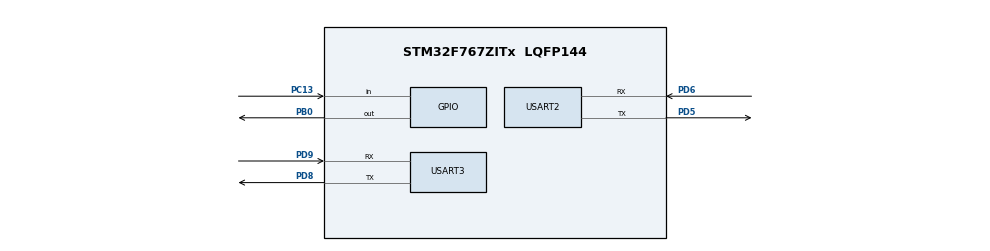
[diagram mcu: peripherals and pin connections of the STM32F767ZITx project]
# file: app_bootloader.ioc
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Mcu.Family=STM32F7
Mcu.Name=STM32F767ZITx
Mcu.Package=LQFP144
NVIC.PriorityGroup=NVIC_PRIORITYGROUP_4
PB0.Signal=GPIO_Output
PC13.Signal=GPIO_Input
PD5.Mode=Asynchronous
PD5.Signal=USART2_TX
PD6.Mode=Asynchronous
PD6.Signal=USART2_RX
PD8.Mode=Asynchronous
PD8.Signal=USART3_TX
PD9.Mode=Asynchronous
PD9.Signal=USART3_RX
ProjectManager.HeapSize=0x200
ProjectManager.StackSize=0x400
ProjectManager.TargetToolchain=STM32CubeIDE
RCC.HSE_VALUE=25000000
RCC.HSI_VALUE=16000000
RCC.LSE_VALUE=32768
RCC.USBFreq_Value=96000000
RCC.VCOOutputFreq_Value=192000000
USART2.VirtualMode-Asynchronous=VM_ASYNC
USART3.VirtualMode-Asynchronous=VM_ASYNC
board=custom

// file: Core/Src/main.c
/* USER CODE BEGIN Header */
/**
  ******************************************************************************
  * @file           : main.c
  * @brief          : Main program body
  ******************************************************************************
  * @attention
  *
  * <h2><center>&copy; Copyright (c) 2021 STMicroelectronics.
  * All rights reserved.</center></h2>
  *
  * This software component is licensed by ST under BSD 3-Clause license,
  * the "License"; You may not use this file except in compliance with the
  * License. You may obtain a copy of the License at:
  *                        opensource.org/licenses/BSD-3-Clause
  *
  ******************************************************************************
  */
/* USER CODE END Header */
#include "main.h"

/* USER CODE BEGIN Includes */
#include <stdio.h> //Include printf operator
#include <stdbool.h>
#include "etx_ota_update.h"
/* USER CODE END Includes */

/* USER CODE BEGIN PM */
#define MAJOR 0 //Major Version Number
#define MINOR 2 //Minor Version Number
/* USER CODE END PM */

UART_HandleTypeDef huart2;
UART_HandleTypeDef huart3;

/* USER CODE BEGIN PV */
const uint8_t BL_Version[2] = {MAJOR, MINOR}; //Bootloader version array
/* USER CODE END PV */

void SystemClock_Config(void);
static void MX_GPIO_Init(void);
static void MX_USART3_UART_Init(void);
static void MX_USART2_UART_Init(void);
/* USER CODE BEGIN PFP */
static void load_application(void);
/* USER CODE END PFP */

int main(void)
{

  /* MCU Configuration--------------------------------------------------------*/

  /* Reset of all peripherals, Initializes the Flash interface and the Systick. */
  HAL_Init();

  /* Configure the system clock */
  SystemClock_Config();

  /* Initialize all configured peripherals */
  MX_GPIO_Init();
  MX_USART3_UART_Init();
  MX_USART2_UART_Init();
  /* USER CODE BEGIN 2 */
  printf("Bootloader Starting! Version number: %d.%d\n", BL_Version[0], BL_Version[1]);
  HAL_GPIO_WritePin(GPIOB, GPIO_PIN_0, 1); //Turn on Green LED
  //HAL_Delay(2000); //2 Second Delay

  /* OTA logic */
  bool OTA_Pin_state = 0;
  uint32_t end_tick = HAL_GetTick() + 2000;
  do {
      OTA_Pin_state = HAL_GPIO_ReadPin( GPIOC, GPIO_PIN_13 );
      uint32_t current_tick = HAL_GetTick();

      /* Check the button is pressed or not for 3seconds */
      if( ( OTA_Pin_state != GPIO_PIN_RESET ) || ( current_tick > end_tick ) )
      {
        /* Either timeout or Button is pressed */
        break;
      }
  }
  while(true);

  //If the button is pushed down, go into firmware update mode
  if(OTA_Pin_state)
  {
	  printf("Starting firmware download\n");
	  /* Launch the OTA code and verify that the data is good*/
	  if(etx_ota_download_and_flash() != ETX_OTA_EX_OK)
	  {
		  printf("OTA Update Error. Program Halting\n");
		  while(true);
	  }
	  else
	  {
		  printf("OTA update sucessful. Rebooting\n");
		  HAL_NVIC_SystemReset(); //Reset application to load it
	  }

  }

  load_application(); //Fire up the actual application

  /* USER CODE END 2 */

  /* Infinite loop */
  while (1)
  {

  }
}

void SystemClock_Config(void)
{
  RCC_OscInitTypeDef RCC_OscInitStruct = {0};
  RCC_ClkInitTypeDef RCC_ClkInitStruct = {0};
  RCC_PeriphCLKInitTypeDef PeriphClkInitStruct = {0};

  /** Configure the main internal regulator output voltage
  */
  __HAL_RCC_PWR_CLK_ENABLE();
  __HAL_PWR_VOLTAGESCALING_CONFIG(PWR_REGULATOR_VOLTAGE_SCALE3);
  /** Initializes the RCC Oscillators according to the specified parameters
  * in the RCC_OscInitTypeDef structure.
  */
  RCC_OscInitStruct.OscillatorType = RCC_OSCILLATORTYPE_HSI;
  RCC_OscInitStruct.HSIState = RCC_HSI_ON;
  RCC_OscInitStruct.HSICalibrationValue = RCC_HSICALIBRATION_DEFAULT;
  RCC_OscInitStruct.PLL.PLLState = RCC_PLL_NONE;
  if (HAL_RCC_OscConfig(&RCC_OscInitStruct) != HAL_OK)
  {
    Error_Handler();
  }
  /** Initializes the CPU, AHB and APB buses clocks
  */
  RCC_ClkInitStruct.ClockType = RCC_CLOCKTYPE_HCLK|RCC_CLOCKTYPE_SYSCLK
                              |RCC_CLOCKTYPE_PCLK1|RCC_CLOCKTYPE_PCLK2;
  RCC_ClkInitStruct.SYSCLKSource = RCC_SYSCLKSOURCE_HSI;
  RCC_ClkInitStruct.AHBCLKDivider = RCC_SYSCLK_DIV1;
  RCC_ClkInitStruct.APB1CLKDivider = RCC_HCLK_DIV1;
  RCC_ClkInitStruct.APB2CLKDivider = RCC_HCLK_DIV1;

  if (HAL_RCC_ClockConfig(&RCC_ClkInitStruct, FLASH_LATENCY_0) != HAL_OK)
  {
    Error_Handler();
  }
  PeriphClkInitStruct.PeriphClockSelection = RCC_PERIPHCLK_USART2|RCC_PERIPHCLK_USART3;
  PeriphClkInitStruct.Usart2ClockSelection = RCC_USART2CLKSOURCE_PCLK1;
  PeriphClkInitStruct.Usart3ClockSelection = RCC_USART3CLKSOURCE_PCLK1;
  if (HAL_RCCEx_PeriphCLKConfig(&PeriphClkInitStruct) != HAL_OK)
  {
    Error_Handler();
  }
}

static void MX_USART2_UART_Init(void)
{

  huart2.Instance = USART2;
  huart2.Init.BaudRate = 115200;
  huart2.Init.WordLength = UART_WORDLENGTH_8B;
  huart2.Init.StopBits = UART_STOPBITS_1;
  huart2.Init.Parity = UART_PARITY_NONE;
  huart2.Init.Mode = UART_MODE_TX_RX;
  huart2.Init.HwFlowCtl = UART_HWCONTROL_NONE;
  huart2.Init.OverSampling = UART_OVERSAMPLING_16;
  huart2.Init.OneBitSampling = UART_ONE_BIT_SAMPLE_DISABLE;
  huart2.AdvancedInit.AdvFeatureInit = UART_ADVFEATURE_NO_INIT;
  if (HAL_UART_Init(&huart2) != HAL_OK)
  {
    Error_Handler();
  }

}

static void MX_USART3_UART_Init(void)
{

  huart3.Instance = USART3;
  huart3.Init.BaudRate = 115200;
  huart3.Init.WordLength = UART_WORDLENGTH_8B;
  huart3.Init.StopBits = UART_STOPBITS_1;
  huart3.Init.Parity = UART_PARITY_NONE;
  huart3.Init.Mode = UART_MODE_TX_RX;
  huart3.Init.HwFlowCtl = UART_HWCONTROL_NONE;
  huart3.Init.OverSampling = UART_OVERSAMPLING_16;
  huart3.Init.OneBitSampling = UART_ONE_BIT_SAMPLE_DISABLE;
  huart3.AdvancedInit.AdvFeatureInit = UART_ADVFEATURE_NO_INIT;
  if (HAL_UART_Init(&huart3) != HAL_OK)
  {
    Error_Handler();
  }

}

static void MX_GPIO_Init(void)
{
  GPIO_InitTypeDef GPIO_InitStruct = {0};

  /* GPIO Ports Clock Enable */
  __HAL_RCC_GPIOC_CLK_ENABLE();
  __HAL_RCC_GPIOB_CLK_ENABLE();
  __HAL_RCC_GPIOD_CLK_ENABLE();

  /*Configure GPIO pin Output Level */
  HAL_GPIO_WritePin(GPIOB, GPIO_PIN_0, GPIO_PIN_RESET);

  /*Configure GPIO pin : PC13 */
  GPIO_InitStruct.Pin = GPIO_PIN_13;
  GPIO_InitStruct.Mode = GPIO_MODE_INPUT;
  GPIO_InitStruct.Pull = GPIO_NOPULL;
  HAL_GPIO_Init(GPIOC, &GPIO_InitStruct);

  /*Configure GPIO pin : PB0 */
  GPIO_InitStruct.Pin = GPIO_PIN_0;
  GPIO_InitStruct.Mode = GPIO_MODE_OUTPUT_PP;
  GPIO_InitStruct.Pull = GPIO_NOPULL;
  GPIO_InitStruct.Speed = GPIO_SPEED_FREQ_LOW;
  HAL_GPIO_Init(GPIOB, &GPIO_InitStruct);

}

/* USER CODE BEGIN 4 */
/**
  * @brief Print the characters to UART (printf).
  * @retval int
  */
#ifdef __GNUC__
  /* With GCC, small printf (option LD Linker->Libraries->Small printf
     set to 'Yes') calls __io_putchar() */
int __io_putchar(int ch)
#else
int fputc(int ch, FILE *f)
#endif /* __GNUC__ */
{
  /* Place your implementation of fputc here */
  /* e.g. write a character to the UART3 and Loop until the end of transmission */
  HAL_UART_Transmit(&huart3, (uint8_t *)&ch, 1, HAL_MAX_DELAY);

  return ch;
}

static void load_application(void)
{
	printf("Loading Application\n");

	//Function pointer to the app reset handler via address
	void (*app_reset_handler)(void) = (void*)(*(volatile uint32_t *)(APP_STACK_START_ADDR + APP_RESET_HANDLER_ADDR_OFFSET));
	HAL_GPIO_WritePin(GPIOB, GPIO_PIN_0, 0); //Turn off LED to indicate bootloader is done
	app_reset_handler(); //Call the reset handler function
}

/* USER CODE END 4 */

void Error_Handler(void)
{
  __disable_irq();
  while (1)
  {
  }
}

/************************ (C) COPYRIGHT STMicroelectronics *****END OF FILE****/
